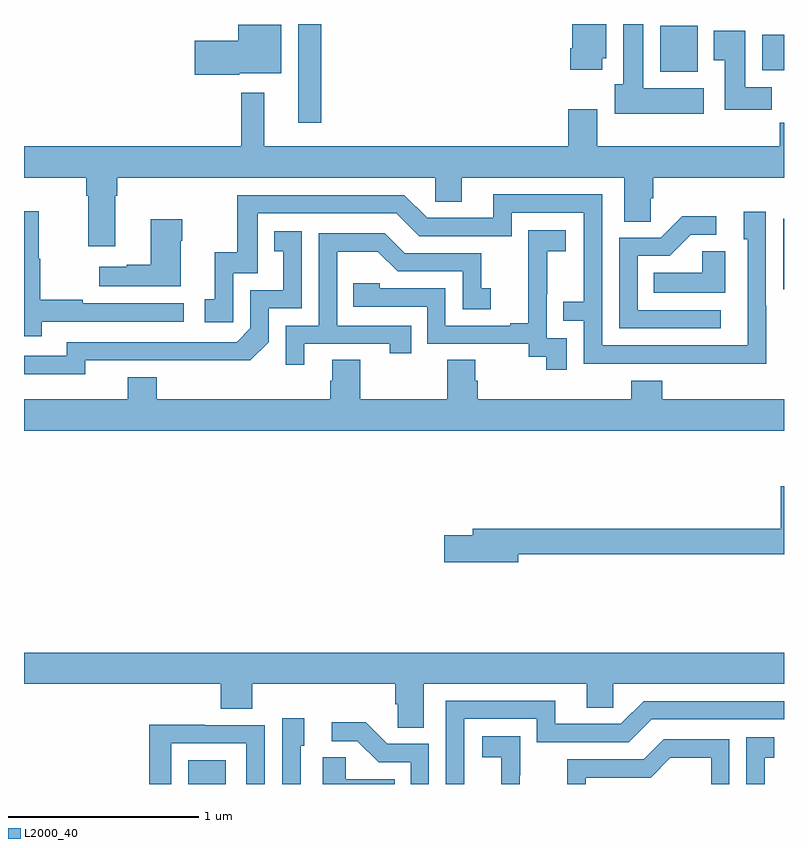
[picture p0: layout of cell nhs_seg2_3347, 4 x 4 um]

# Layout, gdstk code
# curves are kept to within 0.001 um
import gdstk
lib = gdstk.Library(unit=1e-6, precision=1e-09)
def R(c, l, rs):  # rectangles x0, y0, x1, y1
    for r in rs: c.add(gdstk.rectangle(r[:2], r[2:], *l))
def P(c, l, *ps):  # polygons
    for p in ps: c.add(gdstk.Polygon(p, *l))
L2000_40 = (2000, 40)

nhs_seg2_3347 = lib.new_cell('nhs_seg2_3347')
R(nhs_seg2_3347, L2000_40, [(287.864,621.8,288.061,621.925), (290.997,624.405,291,624.774), (288.443,625.281,288.565,625.8), (290.348,625.55,290.545,625.792), (290.885,625.556,291,625.744)])
P(nhs_seg2_3347, L2000_40, [(290.044,625.62),(290.065,625.62),(290.065,625.8),(289.886,625.8),(289.886,625.672),(289.874,625.672),(289.874,625.56),(290.044,625.56)],
  [(290.578,625.462),(290.26,625.462),(290.26,625.8),(290.153,625.8),(290.153,625.482),(290.108,625.482),(290.108,625.328),(290.578,625.328)],
  [(288.132,625.541),(288.355,625.541),(288.355,625.795),(288.128,625.795),(288.128,625.712),(287.898,625.712),(287.898,625.534),(288.132,625.534)],
  [(290.936,625.468),(290.797,625.468),(290.797,625.765),(290.63,625.765),(290.63,625.609),(290.687,625.609),(290.687,625.35),(290.936,625.35)],
  [(287.479,624.896),(287.492,624.896),(287.492,624.992),(289.164,624.992),(289.164,624.865),(289.303,624.865),(289.303,624.992),(290.159,624.992),(290.159,624.76),(290.298,624.76),(290.298,624.883),(290.312,624.883),(290.312,624.992),(291,624.992),(291,625.28),(290.977,625.28),(290.977,625.156),(290.017,625.156),(290.017,625.351),(289.865,625.351),(289.865,625.156),(288.265,625.156),(288.265,625.438),(288.144,625.438),(288.144,625.156),(287,625.156),(287,624.992),(287.327,624.992),(287.327,624.896),(287.339,624.896),(287.339,624.63),(287.479,624.63)],
  [(290.907,624.317),(290.904,624.317),(290.904,624.811),(290.789,624.811),(290.789,624.666),(290.808,624.666),(290.808,624.108),(290.043,624.108),(290.043,624.903),(289.469,624.903),(289.469,624.78),(289.122,624.78),(289.002,624.9),(288.123,624.9),(288.123,624.598),(288.005,624.598),(288.005,624.351),(287.952,624.351),(287.952,624.231),(288.102,624.231),(288.102,624.489),(288.231,624.489),(288.231,624.804),(288.96,624.804),(289.08,624.684),(289.566,624.684),(289.566,624.807),(289.947,624.807),(289.947,624.338),(289.837,624.338),(289.837,624.237),(289.947,624.237),(289.947,624.012),(290.907,624.011)],
  [(287.093,624.234),(287.842,624.234),(287.842,624.33),(287.309,624.33),(287.309,624.35),(287.086,624.35),(287.086,624.564),(287.078,624.564),(287.078,624.814),(287,624.814),(287,624.156),(287.093,624.156)],
  [(290.668,624.294),(290.229,624.294),(290.229,624.579),(290.398,624.579),(290.509,624.69),(290.644,624.69),(290.644,624.788),(290.465,624.788),(290.352,624.675),(290.133,624.675),(290.133,624.198),(290.668,624.198)],
  [(287.824,624.659),(287.832,624.659),(287.832,624.772),(287.666,624.772),(287.666,624.533),(287.54,624.533),(287.54,624.523),(287.397,624.523),(287.397,624.419),(287.824,624.419)],
  [(289.857,624.147),(289.752,624.147),(289.752,624.377),(289.754,624.377),(289.754,624.605),(289.852,624.605),(289.852,624.715),(289.654,624.715),(289.654,624.509),(289.655,624.509),(289.655,624.226),(289.559,624.226),(289.559,624.213),(289.218,624.213),(289.218,624.408),(288.873,624.408),(288.873,624.435),(288.733,624.435),(288.733,624.312),(289.122,624.312),(289.122,624.117),(289.656,624.117),(289.656,624.049),(289.749,624.049),(289.749,623.979),(289.857,623.979)],
  [(287.322,624.03),(288.19,624.029),(288.288,624.126),(288.288,624.303),(288.462,624.303),(288.462,624.709),(288.316,624.709),(288.316,624.603),(288.365,624.603),(288.365,624.399),(288.192,624.399),(288.192,624.198),(288.12,624.126),(287.226,624.126),(287.226,624.054),(287,624.054),(287,623.957),(287.322,623.957)],
  [(288.475,624.117),(288.926,624.117),(288.926,624.066),(289.037,624.066),(289.037,624.213),(288.648,624.213),(288.648,624.602),(288.862,624.602),(288.966,624.498),(289.308,624.498),(289.308,624.3),(289.456,624.3),(289.456,624.409),(289.407,624.409),(289.407,624.594),(289.003,624.594),(288.898,624.699),(288.552,624.699),(288.552,624.213),(288.378,624.213),(288.378,624.006),(288.475,624.006)],
  [(290.692,624.605),(290.571,624.605),(290.571,624.49),(290.314,624.49),(290.314,624.386),(290.692,624.386)],
  [(291,623.824),(290.36,623.824),(290.36,623.923),(290.195,623.923),(290.195,623.824),(289.388,623.824),(289.388,623.922),(289.375,623.922),(289.375,624.032),(289.228,624.032),(289.228,623.824),(288.771,623.824),(288.771,624.032),(288.623,624.032),(288.623,623.922),(288.611,623.922),(288.611,623.824),(287.699,623.824),(287.699,623.941),(287.546,623.941),(287.546,623.824),(287,623.824),(287,623.66),(291,623.66)],
  [(289.6,623.008),(291,623.008),(291,623.368),(290.984,623.368),(290.984,623.144),(289.361,623.144),(289.361,623.108),(289.212,623.108),(289.212,622.966),(289.6,622.966)],
  [(289.105,622.328),(289.961,622.328),(289.961,622.201),(290.1,622.201),(290.1,622.328),(291,622.328),(291,622.492),(287,622.492),(287,622.328),(288.035,622.328),(288.035,622.195),(288.2,622.195),(288.2,622.328),(288.953,622.328),(288.953,622.219),(288.966,622.219),(288.966,622.096),(289.105,622.096)],
  [(289.317,622.143),(289.698,622.143),(289.698,622.02),(290.184,622.02),(290.304,622.14),(291,622.14),(291,622.236),(290.262,622.236),(290.142,622.116),(289.795,622.116),(289.795,622.239),(289.221,622.239),(289.221,621.8),(289.317,621.8)],
  [(288.456,622.002),(288.475,622.002),(288.475,622.147),(288.36,622.147),(288.36,621.8),(288.456,621.8)],
  [(289.131,622.011),(288.912,622.011),(288.799,622.124),(288.621,622.124),(288.621,622.026),(288.755,622.026),(288.866,621.915),(289.035,621.915),(289.035,621.8),(289.131,621.8)],
  [(287.775,622.014),(288.171,622.014),(288.171,621.8),(288.267,621.8),(288.267,622.11),(287.951,622.11),(287.951,622.112),(287.659,622.112),(287.659,621.8),(287.775,621.8)],
  [(289.61,621.845),(289.611,621.845),(289.611,622.051),(289.413,622.051),(289.413,621.941),(289.511,621.941),(289.511,621.8),(289.61,621.8)],
  [(290.899,621.939),(290.948,621.939),(290.948,622.045),(290.802,622.045),(290.802,621.8),(290.899,621.8)],
  [(289.956,621.834),(290.298,621.834),(290.402,621.938),(290.616,621.938),(290.616,621.8),(290.712,621.8),(290.712,622.035),(290.366,622.035),(290.261,621.93),(289.858,621.93),(289.858,621.8),(289.956,621.8)],
  [(288.95,621.826),(288.693,621.826),(288.693,621.941),(288.572,621.941),(288.572,621.8),(288.95,621.8)])

lib.write_gds('nhs_seg2_3347.gds')
